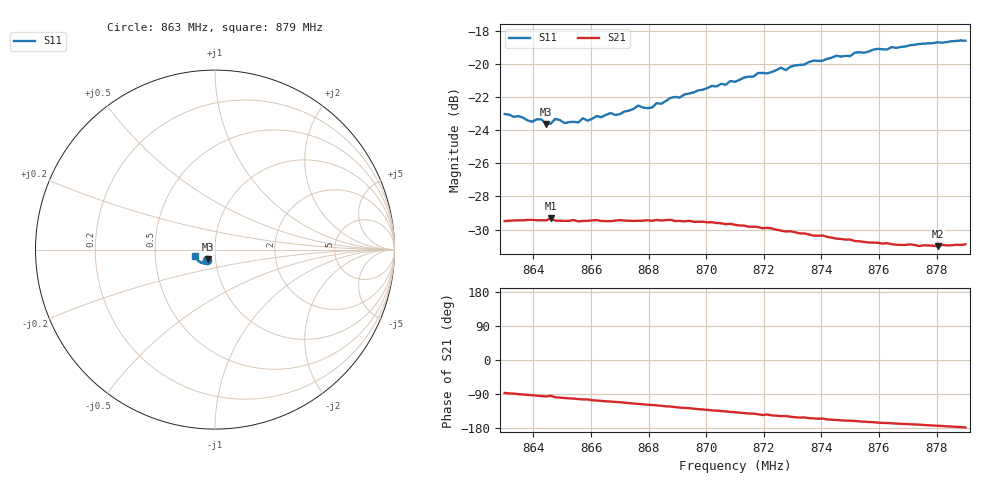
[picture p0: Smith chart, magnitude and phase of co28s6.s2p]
# HZ S RI R 50
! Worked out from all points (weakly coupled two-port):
!   101 points, 863 MHz to 879 MHz, reference 50 ohm
!   highest |S21| = -29.32 dB at 864.6 MHz (marker M1); lowest = -31.0 dB at 878.04 MHz (marker M2)
!   lowest |S11| = -23.6 dB at 864.44 MHz (marker M3), VSWR 1.14, Z = 46.1 - j5.03 ohm
!   |S11| at or under -10 dB: start of sweep to end of sweep
!   S12 and S22 are empty: the file has one direction only
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8.63e8  -0.0441 -0.0552  0.00182 -0.0335  0 0  0 0
8.6396e8  -0.0394 -0.0541  -0.00175 -0.0338  0 0  0 0
8.6428e8  -0.0381 -0.0564  -0.0031 -0.0336  0 0  0 0
8.6444e8  -0.0374 -0.0543  -0.00367 -0.0335  0 0  0 0
8.646e8  -0.033 -0.0573  -0.00258 -0.0341  0 0  0 0
8.6476e8  -0.0382 -0.0566  -0.00491 -0.0333  0 0  0 0
8.6508e8  -0.0358 -0.0559  -0.00599 -0.033  0 0  0 0
8.6556e8  -0.0338 -0.0575  -0.00756 -0.0326  0 0  0 0
8.6572e8  -0.0351 -0.059  -0.00814 -0.0326  0 0  0 0
8.6588e8  -0.0338 -0.0584  -0.00817 -0.0326  0 0  0 0
8.6668e8  -0.0347 -0.0621  -0.0112 -0.0316  0 0  0 0
8.67e8  -0.0348 -0.0615  -0.0123 -0.0314  0 0  0 0
8.6764e8  -0.0364 -0.0656  -0.0147 -0.0302  0 0  0 0
8.6796e8  -0.0353 -0.0646  -0.0158 -0.0298  0 0  0 0
8.6844e8  -0.037 -0.0663  -0.0173 -0.0289  0 0  0 0
8.6876e8  -0.0375 -0.0697  -0.0183 -0.0285  0 0  0 0
8.71e8  -0.0483 -0.0741  -0.0242 -0.0219  0 0  0 0
8.718e8  -0.0565 -0.0751  -0.0257 -0.0193  0 0  0 0
8.7372e8  -0.0709 -0.074  -0.0272 -0.0133  0 0  0 0
8.7644e8  -0.0938 -0.0623  -0.0278 -0.00638  0 0  0 0
8.7804e8  -0.1059 -0.0485  -0.028 -0.00317  0 0  0 0
8.79e8  -0.1113 -0.0384  -0.0285 -0.000916  0 0  0 0
